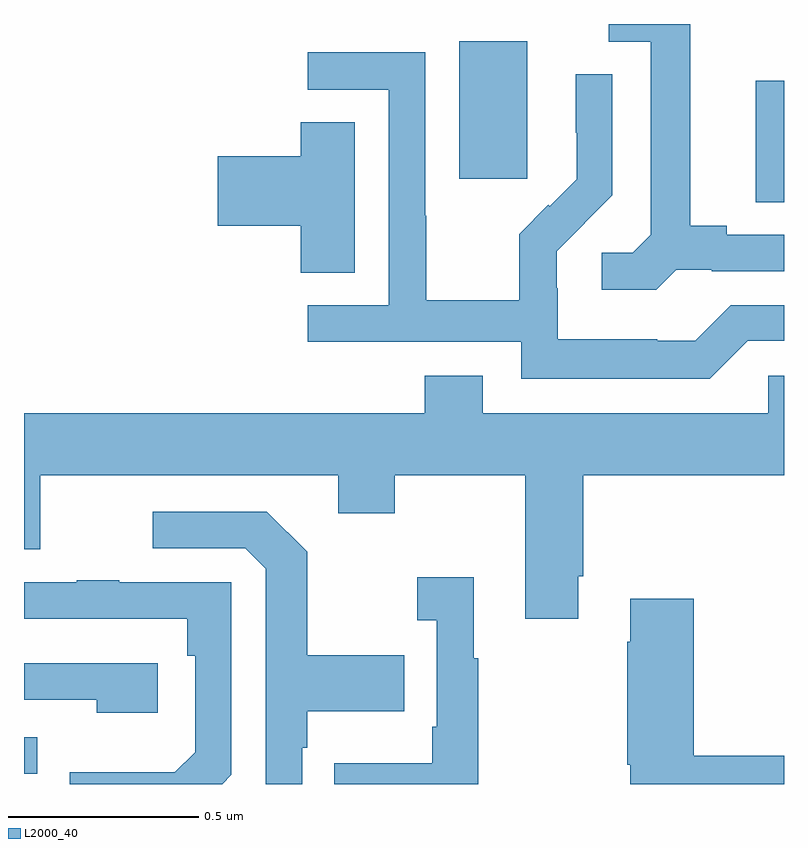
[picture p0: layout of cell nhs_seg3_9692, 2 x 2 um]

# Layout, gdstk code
import gdstk
lib = gdstk.Library(unit=1e-6, precision=1e-09)
def R(c, l, rs):  # rectangles x0, y0, x1, y1
    for r in rs: c.add(gdstk.rectangle(r[:2], r[2:], *l))
def P(c, l, *ps):  # polygons
    for p in ps: c.add(gdstk.Polygon(p, *l))
L2000_40 = (2000, 40)

nhs_seg3_9692 = lib.new_cell('nhs_seg3_9692')
R(nhs_seg3_9692, L2000_40, [(231,737.427,231.035,737.523), (232.925,738.931,233,739.251), (232.145,738.993,232.324,739.354)])
P(nhs_seg3_9692, L2000_40, [(232.716,738.753),(232.81,738.753),(232.81,738.75),(233,738.75),(233,738.846),(232.849,738.846),(232.849,738.869),(232.753,738.869),(232.753,739.4),(232.539,739.4),(232.539,739.353),(232.649,739.353),(232.649,738.845),(232.602,738.798),(232.521,738.798),(232.521,738.701),(232.664,738.701)],
  [(232.905,738.567),(233,738.567),(233,738.66),(232.86,738.66),(232.767,738.567),(232.667,738.567),(232.667,738.571),(232.404,738.571),(232.404,738.705),(232.402,738.705),(232.402,738.802),(232.476,738.876),(232.475,738.877),(232.548,738.95),(232.548,739.268),(232.452,739.268),(232.452,739.114),(232.454,739.114),(232.454,738.992),(232.383,738.921),(232.38,738.924),(232.303,738.847),(232.303,738.673),(232.059,738.673),(232.059,738.896),(232.056,738.896),(232.056,739.326),(231.747,739.326),(231.747,739.227),(231.96,739.227),(231.96,738.66),(231.747,738.66),(231.747,738.564),(232.308,738.564),(232.308,738.467),(232.805,738.467)],
  [(231.871,739.142),(231.728,739.142),(231.728,739.052),(231.51,739.052),(231.51,738.869),(231.728,738.869),(231.728,738.745),(231.871,738.745)],
  [(232.459,737.947),(232.472,737.947),(232.472,738.212),(233,738.212),(233,738.474),(232.959,738.474),(232.959,738.376),(232.207,738.376),(232.207,738.475),(232.055,738.475),(232.055,738.376),(231,738.376),(231,738.018),(231.043,738.018),(231.043,738.212),(231.827,738.212),(231.827,738.113),(231.975,738.113),(231.975,738.212),(232.319,738.212),(232.319,737.835),(232.459,737.835)],
  [(231.732,737.495),(231.745,737.495),(231.745,737.591),(232.001,737.591),(232.001,737.739),(231.745,737.739),(231.745,738.011),(231.639,738.117),(231.339,738.117),(231.339,738.021),(231.582,738.021),(231.636,737.967),(231.636,737.4),(231.732,737.4)],
  [(232.195,737.731),(232.183,737.731),(232.183,737.944),(232.035,737.944),(232.035,737.831),(232.086,737.831),(232.086,737.551),(232.074,737.551),(232.074,737.455),(231.817,737.455),(231.817,737.4),(232.195,737.4)],
  [(231.546,737.424),(231.546,737.931),(231.251,737.931),(231.251,737.936),(231.139,737.936),(231.139,737.931),(231,737.931),(231,737.835),(231.43,737.835),(231.43,737.738),(231.45,737.738),(231.45,737.484),(231.397,737.431),(231.12,737.431),(231.12,737.4),(231.522,737.4)],
  [(233,737.474),(232.763,737.474),(232.763,737.887),(232.595,737.887),(232.595,737.774),(232.588,737.774),(232.588,737.451),(232.595,737.451),(232.595,737.4),(233,737.4)],
  [(231.352,737.718),(231,737.718),(231,737.622),(231.191,737.622),(231.191,737.588),(231.352,737.588)])

lib.write_gds('nhs_seg3_9692.gds')
